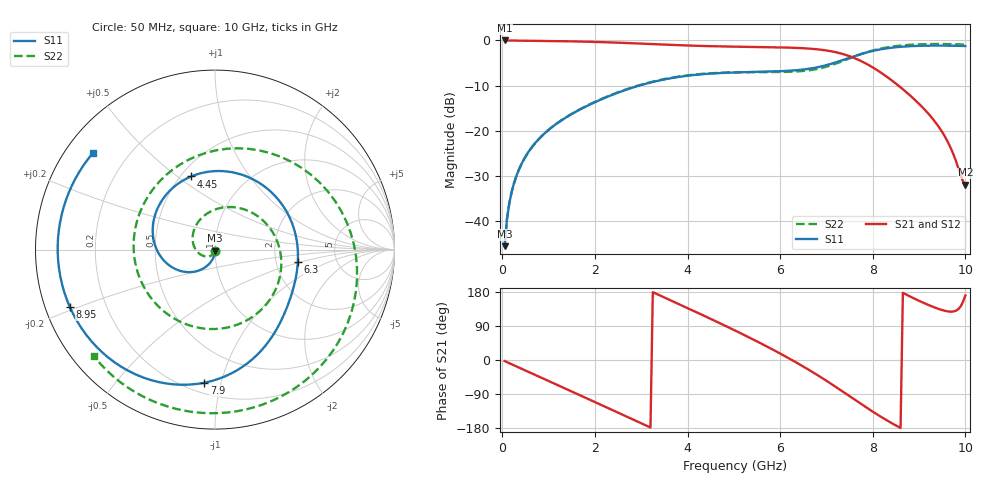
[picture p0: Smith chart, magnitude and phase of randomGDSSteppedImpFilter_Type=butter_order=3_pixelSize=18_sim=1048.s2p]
! freq	dB(S11)	phase(S11)	dB(S12)	phase(S12)
!  dB(S21)	phase(S21)	dB(S22)	phase(S22)
!S-par simulation data
#  GHz  S  DB  R 50
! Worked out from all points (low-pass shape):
!   200 points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, 50 MHz to 10 GHz, reference 50 ohm
!   highest |S21| = -0.01 dB at 50 MHz (marker M1); lowest = -31.9 dB at 10 GHz (marker M2)
!   |S21| within 3 dB of the highest: start of sweep to 7.353 GHz
!   lowest |S11| = -45.5 dB at 50 MHz (marker M3), VSWR 1.01, Z = 50 - j0.531 ohm
!   |S11| at or under -10 dB: start of sweep to 2.951 GHz
!   |S22| runs from -45.4 to -0.8 dB; largest |S21 - S12| = 0
!   S11 on the Smith chart (normalised r, x): 50 MHz: 1.00, -0.01; 4.45 GHz: 0.56, +0.56; 6.3 GHz: 2.65, -0.46; 7.9 GHz: 0.27, -0.89; 8.95 GHz: 0.07, -0.19; 10 GHz: 0.08, +0.34
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0.05  -45.48 -86.5  -0.01 -2.8  -0.01 -2.8  -45.42 -91.0
0.1  -39.55 -90.4  -0.01 -5.6  -0.01 -5.6  -39.59 -96.6
0.2  -33.58 -94.4  -0.02 -11.1  -0.02 -11.1  -33.64 -106.3
0.5  -25.69 -103.2  -0.05 -27.7  -0.05 -27.7  -25.74 -132.9
1.15  -18.57 -120.3  -0.14 -63.7  -0.14 -63.7  -18.56 171.1
1.75  -14.89 -136.1  -0.26 -97.0  -0.26 -97.0  -14.82 120.2
2.65  -10.99 -165.0  -0.55 -147.4  -0.55 -147.4  -10.90 48.9
3.4  -8.83 163.5  -0.88 170.6  -0.88 170.6  -8.75 -3.1
3.9  -7.93 138.8  -1.08 142.6  -1.08 142.6  -7.85 -34.0
4.45  -7.36 108.1  -1.26 111.4  -1.26 111.4  -7.29 -65.3
5.05  -7.07 71.0  -1.38 76.4  -1.38 76.4  -7.05 -97.8
5.75  -6.90 25.4  -1.48 33.3  -1.48 33.3  -7.00 -138.3
6.3  -6.63 -8.4  -1.63 -3.2  -1.63 -3.2  -6.89 -178.3
6.7  -6.14 -29.9  -1.86 -31.9  -1.86 -31.9  -6.49 144.6
7.05  -5.32 -47.3  -2.30 -58.8  -2.30 -58.8  -5.65 106.4
7.35  -4.35 -62.7  -3.00 -83.2  -3.00 -83.2  -4.56 71.7
7.6  -3.48 -76.6  -3.88 -104.0  -3.88 -104.0  -3.57 43.4
7.9  -2.57 -94.6  -5.37 -128.5  -5.37 -128.5  -2.51 11.9
8.35  -1.68 -122.6  -8.38 -162.5  -8.38 -162.5  -1.47 -28.9
8.95  -1.21 -158.5  -13.53 159.0  -13.53 159.0  -0.89 -72.6
9.45  -1.14 172.9  -19.49 133.6  -19.49 133.6  -0.79 -103.9
10  -1.24 141.8  -31.91 170.2  -31.91 170.2  -0.93 -138.8
